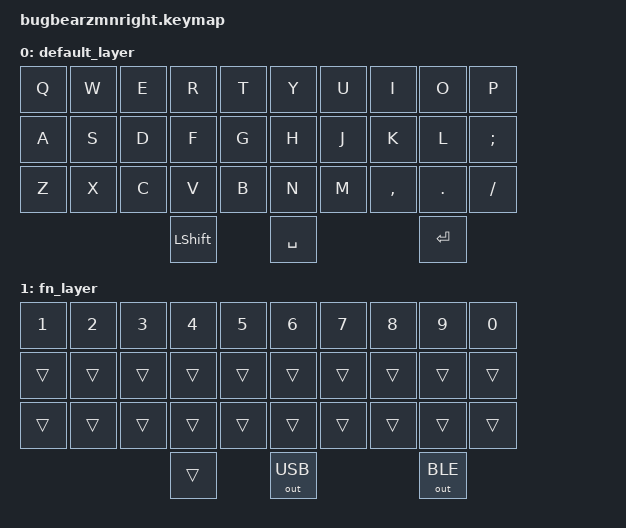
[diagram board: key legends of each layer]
/*
 * bugbearzmnright.keymap
 * Valid ZMK devicetree keymap
 */

#include <behaviors.dtsi>
#include <dt-bindings/zmk/keys.h>
#include <dt-bindings/zmk/bt.h>
#include <dt-bindings/zmk/outputs.h>

/ {
    keymap {
        compatible = "zmk,keymap";

        default_layer {
            bindings = <
                &kp Q &kp W &kp E &kp R &kp T     &kp Y &kp U &kp I &kp O &kp P
                &kp A &kp S &kp D &kp F &kp G     &kp H &kp J &kp K &kp L &kp SEMI
                &kp Z &kp X &kp C &kp V &kp B     &kp N &kp M &kp COMMA &kp DOT &kp SLASH
                                &kp LSHIFT        &kp SPACE        &kp ENTER
            >;
        };

        fn_layer {
            bindings = <
                &kp N1 &kp N2 &kp N3 &kp N4 &kp N5   &kp N6 &kp N7 &kp N8 &kp N9 &kp N0
                &trans &trans &trans &trans &trans   &trans &trans &trans &trans &trans
                &trans &trans &trans &trans &trans   &trans &trans &trans &trans &trans
                                &trans             &out OUT_USB   &out OUT_BLE
            >;
        };
    };
};
